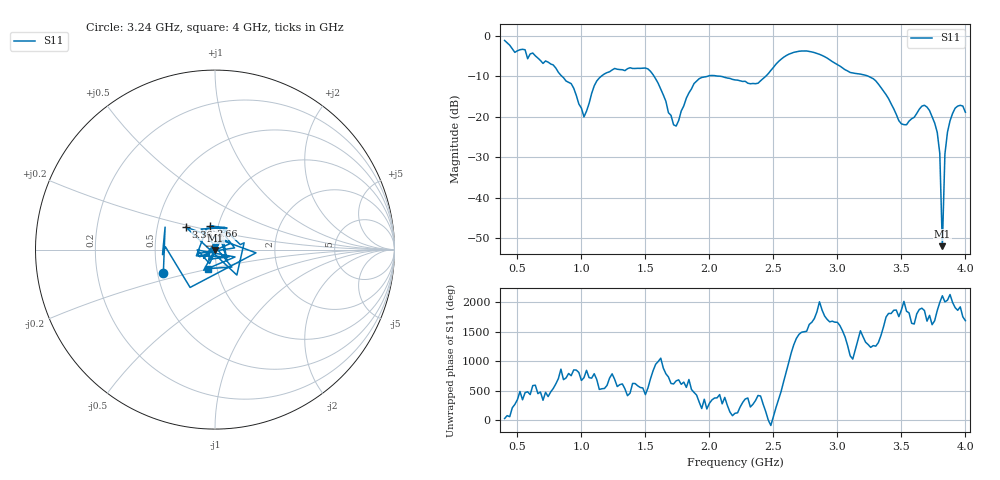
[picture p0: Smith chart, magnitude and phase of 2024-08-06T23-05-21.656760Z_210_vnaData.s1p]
!Created with skrf (http://scikit-rf.org).
# Hz S RI R 50.0
!freq ReS11 ImS11
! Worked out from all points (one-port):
!   181 points, 400 MHz to 4 GHz, reference 50 ohm
!   lowest |S11| = -52.0 dB at 3.82 GHz (marker M1), VSWR 1.01, Z = 50.2 - j0.186 ohm
!   |S11| at or under -10 dB: 1.567 GHz to 1.989 GHz (422.1 MHz wide, 23.7 % of centre); 2.074 GHz to 2.441 GHz (367.4 MHz wide, 16.3 % of centre); 3.24 GHz to end of sweep (the widest 3 of 4)
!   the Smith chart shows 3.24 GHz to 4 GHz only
!   S11 on the Smith chart (normalised r, x): 3.24 GHz: 0.54, -0.16; 3.36 GHz: 0.70, +0.18; 3.66 GHz: 0.92, +0.25; 4 GHz: 0.90, -0.19
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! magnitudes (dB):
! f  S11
! 400 MHz  -1.2
! 860 MHz  -10.4
! 940 MHz  -13.0
! 1.02 GHz  -20.1
! 1.12 GHz  -11.2
! 1.3 GHz  -8.4
! 1.52 GHz  -8.2
! 1.6 GHz  -11.8
! 1.72 GHz  -22.0
! 1.76 GHz  -21.0
! 1.92 GHz  -10.6
! 2.2 GHz  -10.9
! 2.38 GHz  -11.7
! 2.66 GHz  -4.1
! 3.1 GHz  -9.1
! 3.24 GHz  -10.0
! 3.36 GHz  -13.7
! 3.5 GHz  -21.8
! 3.56 GHz  -21.1
! 3.66 GHz  -17.4
! 3.72 GHz  -18.5
! 3.78 GHz  -23.9
! 3.8 GHz  -29.1
! 3.82 GHz  -52.0
! 3.84 GHz  -29.2
! 3.86 GHz  -23.8
! 3.92 GHz  -17.9
! 4 GHz  -18.9
